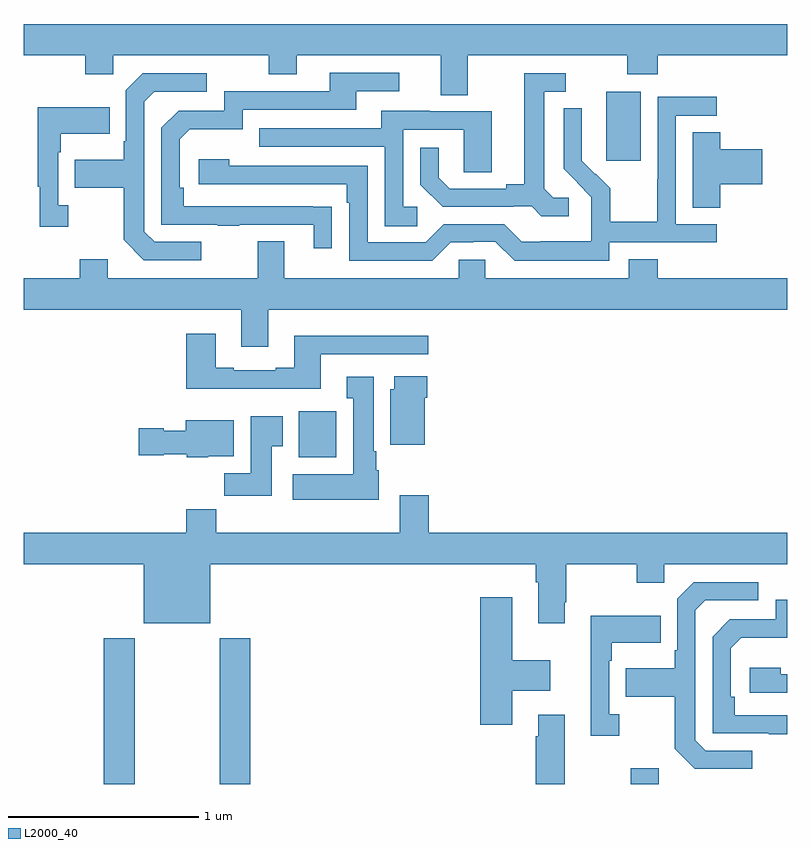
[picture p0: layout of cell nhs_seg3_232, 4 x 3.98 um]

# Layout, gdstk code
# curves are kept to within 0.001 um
import gdstk
lib = gdstk.Library(unit=1e-6, precision=1e-09)
def R(c, l, rs):  # rectangles x0, y0, x1, y1
    for r in rs: c.add(gdstk.rectangle(r[:2], r[2:], *l))
def P(c, l, *ps):  # polygons
    for p in ps: c.add(gdstk.Polygon(p, *l))
L2000_40 = (2000, 40)

nhs_seg3_232 = lib.new_cell('nhs_seg3_232')
R(nhs_seg3_232, L2000_40, [(121.421,730.4,121.581,731.164), (122.026,730.4,122.186,731.164), (124.18,730.4,124.327,730.483), (122.441,732.11,122.638,732.352), (124.052,733.665,124.231,734.026)])
P(nhs_seg3_232, L2000_40, [(123.325,734.216),(124.162,734.216),(124.162,734.117),(124.322,734.117),(124.322,734.216),(125,734.216),(125,734.38),(121,734.38),(121,734.216),(121.324,734.216),(121.324,734.117),(121.47,734.117),(121.47,734.216),(122.284,734.216),(122.284,734.117),(122.431,734.117),(122.431,734.216),(123.185,734.216),(123.185,734.008),(123.325,734.008)],
  [(122.615,733.424),(121.838,733.425),(121.838,733.522),(121.818,733.522),(121.818,733.776),(121.871,733.829),(122.148,733.829),(122.148,733.932),(122.743,733.932),(122.743,734.028),(122.968,734.028),(122.968,734.124),(122.603,734.124),(122.603,734.028),(122.052,734.028),(122.052,733.926),(121.812,733.926),(121.722,733.836),(121.722,733.329),(122.017,733.329),(122.017,733.324),(122.129,733.324),(122.129,733.329),(122.519,733.329),(122.519,733.206),(122.615,733.206)],
  [(123.856,733.47),(123.774,733.47),(123.727,733.517),(123.727,734.025),(123.838,734.025),(123.838,734.121),(123.623,734.121),(123.623,733.541),(123.527,733.541),(123.527,733.518),(123.232,733.518),(123.175,733.575),(123.175,733.732),(123.078,733.732),(123.078,733.538),(123.194,733.422),(123.566,733.422),(123.566,733.425),(123.66,733.425),(123.712,733.373),(123.856,733.373)],
  [(121.93,733.239),(121.686,733.239),(121.632,733.293),(121.632,733.974),(121.683,734.025),(121.96,734.025),(121.96,734.121),(121.623,734.121),(121.536,734.034),(121.536,733.765),(121.524,733.765),(121.524,733.669),(121.267,733.669),(121.267,733.522),(121.524,733.522),(121.524,733.249),(121.629,733.143),(121.93,733.143)],
  [(124.068,733.236),(124.63,733.236),(124.63,733.332),(124.416,733.332),(124.416,733.899),(124.63,733.899),(124.63,733.998),(124.32,733.998),(124.32,733.568),(124.318,733.568),(124.318,733.345),(124.073,733.345),(124.073,733.519),(123.996,733.596),(123.993,733.593),(123.923,733.664),(123.924,733.94),(123.828,733.94),(123.828,733.622),(123.974,733.474),(123.974,733.377),(123.972,733.377),(123.972,733.243),(123.709,733.243),(123.709,733.239),(123.609,733.239),(123.516,733.332),(123.201,733.332),(123.105,733.236),(122.802,733.236),(122.802,733.638),(122.078,733.638),(122.078,733.672),(121.917,733.672),(121.917,733.542),(122.693,733.542),(122.693,733.445),(122.706,733.445),(122.706,733.14),(123.141,733.14),(123.237,733.236),(123.356,733.236),(123.356,733.239),(123.471,733.239),(123.571,733.139),(124.068,733.139)],
  [(121.234,733.43),(121.182,733.43),(121.182,733.709),(121.195,733.709),(121.195,733.805),(121.451,733.805),(121.451,733.945),(121.074,733.945),(121.074,733.529),(121.085,733.529),(121.085,733.317),(121.234,733.317)],
  [(123.061,733.422),(122.988,733.422),(122.988,733.827),(123.306,733.827),(123.306,733.603),(123.451,733.603),(123.451,733.923),(123.127,733.923),(123.127,733.927),(122.873,733.927),(122.873,733.833),(122.233,733.833),(122.233,733.737),(122.892,733.737),(122.892,733.321),(123.061,733.321)],
  [(124.649,733.541),(124.867,733.541),(124.867,733.724),(124.649,733.724),(124.649,733.814),(124.505,733.814),(124.505,733.417),(124.649,733.417)],
  [(122.281,732.884),(125,732.884),(125,733.048),(124.322,733.048),(124.322,733.147),(124.169,733.147),(124.169,733.048),(123.417,733.048),(123.417,733.146),(123.279,733.146),(123.279,733.048),(122.365,733.048),(122.365,733.243),(122.225,733.243),(122.225,733.048),(121.441,733.048),(121.441,733.147),(121.294,733.147),(121.294,733.048),(121,733.048),(121,732.884),(122.141,732.884),(122.141,732.69),(122.281,732.69)],
  [(122.557,732.651),(123.118,732.651),(123.118,732.748),(122.417,732.748),(122.417,732.58),(122.321,732.58),(122.321,732.567),(122.101,732.567),(122.101,732.58),(122.005,732.58),(122.005,732.757),(121.853,732.757),(121.853,732.47),(122.557,732.47)],
  [(123.1,732.422),(123.113,732.422),(123.113,732.535),(122.942,732.535),(122.942,732.468),(122.921,732.468),(122.921,732.176),(123.1,732.176)],
  [(122.86,732.042),(122.848,732.042),(122.848,732.142),(122.833,732.142),(122.833,732.532),(122.693,732.532),(122.693,732.419),(122.726,732.419),(122.726,732.022),(122.409,732.022),(122.409,731.888),(122.86,731.888)],
  [(122.299,732.169),(122.356,732.169),(122.356,732.325),(122.189,732.325),(122.189,732.028),(122.05,732.028),(122.05,731.91),(122.299,731.91)],
  [(121.968,732.116),(122.101,732.116),(122.101,732.304),(121.85,732.304),(121.85,732.25),(121.734,732.25),(121.734,732.263),(121.602,732.263),(121.602,732.121),(121.734,732.121),(121.734,732.128),(121.854,732.128),(121.854,732.11),(121.968,732.11)],
  [(123.835,731.353),(123.843,731.353),(123.843,731.552),(124.21,731.552),(124.21,731.453),(124.356,731.453),(124.356,731.552),(125,731.552),(125,731.716),(123.122,731.716),(123.122,731.911),(122.969,731.911),(122.969,731.716),(122.009,731.716),(122.009,731.84),(121.853,731.84),(121.853,731.716),(121,731.716),(121,731.552),(121.628,731.552),(121.628,731.243),(121.978,731.243),(121.978,731.552),(123.683,731.552),(123.683,731.456),(123.695,731.456),(123.695,731.241),(123.835,731.241)],
  [(124.816,730.575),(124.572,730.575),(124.518,730.629),(124.518,731.31),(124.569,731.361),(124.846,731.361),(124.846,731.457),(124.509,731.457),(124.422,731.37),(124.422,731.101),(124.41,731.101),(124.41,731.005),(124.153,731.005),(124.153,730.858),(124.41,730.858),(124.41,730.585),(124.515,730.479),(124.816,730.479)],
  [(123.559,730.889),(123.757,730.889),(123.757,731.047),(123.559,731.047),(123.559,731.377),(123.392,731.377),(123.392,730.71),(123.559,730.71)],
  [(125,730.761),(124.724,730.761),(124.724,730.858),(124.704,730.858),(124.704,731.112),(124.757,731.165),(125,731.165),(125,731.364),(124.938,731.364),(124.938,731.262),(124.698,731.262),(124.608,731.172),(124.608,730.665),(124.903,730.665),(124.903,730.66),(125,730.66)],
  [(124.12,730.766),(124.068,730.766),(124.068,731.045),(124.081,731.045),(124.081,731.141),(124.337,731.141),(124.337,731.281),(123.971,731.281),(123.971,730.653),(124.12,730.653)],
  [(125,730.974),(124.964,730.974),(124.964,731.008),(124.803,731.008),(124.803,730.878),(125,730.878)],
  [(123.835,730.762),(123.695,730.762),(123.695,730.649),(123.683,730.649),(123.683,730.4),(123.835,730.4)])

lib.write_gds('nhs_seg3_232.gds')
